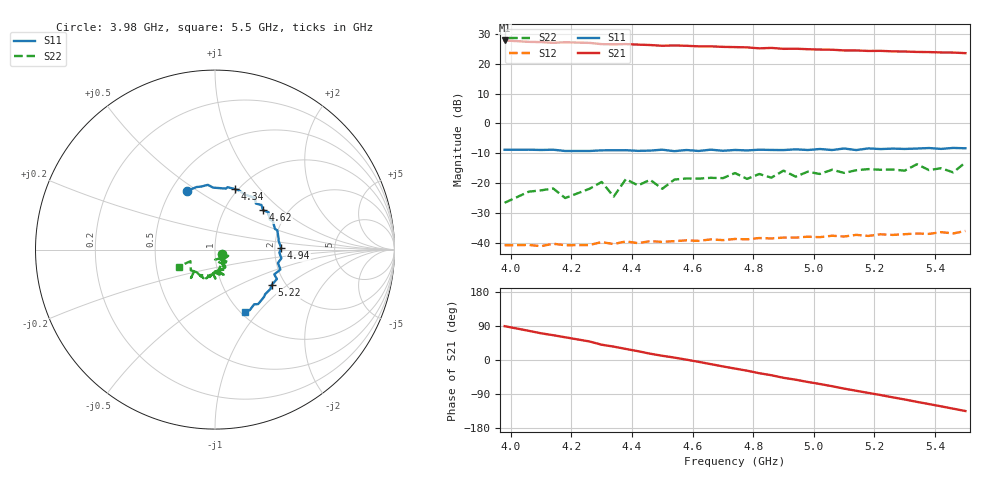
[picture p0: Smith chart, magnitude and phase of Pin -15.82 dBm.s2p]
! RsaToolbox (C) 2015 Rohde & Schwarz America
! Number of points: 37
! Number of ports: 2
! Balanced ports?: No
# Hz S RI R 50
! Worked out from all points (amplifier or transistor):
!   37 points, 3.98 GHz to 5.5 GHz, reference 50 ohm
!   highest |S21| = 27.8 dB at 3.98 GHz (marker M1)
!   |S21| within 3 dB of that: start of sweep to 5.002 GHz
!   unconditionally stable (mu >= 1): start of sweep to end of sweep
!   at 4.3 GHz: K = 2.04, MAG = 27.4 dB, |S12| = -39.8 dB
!   at 4.78 GHz: K = 2.07, MAG = 26.3 dB, |S12| = -38.8 dB
!   at 5.5 GHz: K = 1.76, MAG = 24.8 dB, |S12| = -36.0 dB
!   S11 on the Smith chart (normalised r, x): 3.98 GHz: 0.60, +0.45; 4.34 GHz: 0.96, +0.74; 4.62 GHz: 1.51, +0.75; 4.94 GHz: 2.17, +0.04; 5.22 GHz: 1.69, -0.78; 5.5 GHz: 1.05, -0.85
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3.98e9  -0.1554 0.3274  0.3013 24.62  0.00567 0.00709  0.0395 -0.0251
4.1e9  -0.0777 0.3508  7.705 21.78  0.00714 0.0051  0.03 -0.0694
4.18e9  -0.0105 0.3453  11.51 19.88  0.00813 0.00407  0.000165 -0.0563
4.26e9  0.0609 0.34  14.73 16.89  0.00869 0.00293  0.0301 -0.0745
4.3e9  0.07 0.3475  16.29 13.82  0.01 0.00234  0.0769 -0.0709
4.34e9  0.109 0.338  17.29 12.25  0.00941 0.00148  0.0263 -0.0534
4.38e9  0.1357 0.3293  18.68 10.43  0.0105 0.000629  0.0523 -0.1045
4.46e9  0.176 0.3034  19.77 5.917  0.0106 -0.00102  0.0575 -0.0981
4.5e9  0.2209 0.2886  19.67 3.875  0.0102 -0.00166  0.0432 -0.0676
4.54e9  0.2279 0.2565  20.19 2.246  0.0103 -0.00275  0.0206 -0.1128
4.62e9  0.2676 0.2193  19.54 -1.67  0.00972 -0.00462  0.0256 -0.116
4.66e9  0.298 0.2085  19.28 -3.706  0.0103 -0.00496  0.0519 -0.1112
4.74e9  0.3224 0.1592  17.58 -7.336  0.00953 -0.0066  0.0482 -0.1393
4.86e9  0.3547 0.0589  14.11 -11.92  0.00707 -0.00946  -0.0148 -0.1226
4.9e9  0.3546 0.0492  12.15 -13.02  0.00703 -0.01  0.00191 -0.1618
4.94e9  0.3687 0.00723  11.03 -14.12  0.00592 -0.0107  -0.00714 -0.1282
5.02e9  0.37 -0.0483  7.767 -15.49  0.00443 -0.0116  -0.025 -0.1402
5.14e9  0.3303 -0.1382  2.566 -16.55  0.000938 -0.0135  -0.0829 -0.1418
5.22e9  0.3148 -0.1985  -0.696 -16.47  -0.00108 -0.0138  -0.0839 -0.1448
5.26e9  0.3087 -0.2196  -2.401 -15.98  -0.00164 -0.0134  -0.077 -0.1501
5.38e9  0.2401 -0.3039  -6.963 -14.09  -0.00559 -0.0129  -0.112 -0.1217
5.5e9  0.1675 -0.345  -10.61 -10.74  -0.00903 -0.0129  -0.2013 -0.0944
